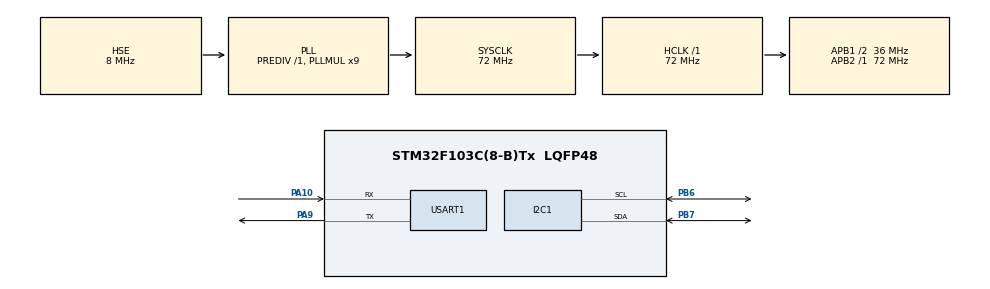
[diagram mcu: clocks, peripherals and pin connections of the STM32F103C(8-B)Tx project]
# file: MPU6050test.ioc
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I2C1.I2C_Mode=I2C_Fast
Mcu.Family=STM32F1
Mcu.Name=STM32F103C(8-B)Tx
Mcu.Package=LQFP48
NVIC.PriorityGroup=NVIC_PRIORITYGROUP_4
PA10.Mode=Asynchronous
PA10.Signal=USART1_RX
PA13.Mode=Serial_Wire
PA13.Signal=SYS_JTMS-SWDIO
PA14.Mode=Serial_Wire
PA14.Signal=SYS_JTCK-SWCLK
PA9.Mode=Asynchronous
PA9.Signal=USART1_TX
PB6.Mode=I2C
PB6.Signal=I2C1_SCL
PB7.Mode=I2C
PB7.Signal=I2C1_SDA
PD0-OSC_IN.Mode=HSE-External-Oscillator
PD0-OSC_IN.Signal=RCC_OSC_IN
PD1-OSC_OUT.Mode=HSE-External-Oscillator
PD1-OSC_OUT.Signal=RCC_OSC_OUT
ProjectManager.HeapSize=0x200
ProjectManager.StackSize=0x400
ProjectManager.TargetToolchain=MDK-ARM V5.32
RCC.AHBFreq_Value=72000000
RCC.APB1CLKDivider=RCC_HCLK_DIV2
RCC.APB1Freq_Value=36000000
RCC.APB1TimFreq_Value=72000000
RCC.APB2Freq_Value=72000000
RCC.APB2TimFreq_Value=72000000
RCC.HCLKFreq_Value=72000000
RCC.PLLMUL=RCC_PLL_MUL9
RCC.PLLSourceVirtual=RCC_PLLSOURCE_HSE
RCC.SYSCLKFreq_VALUE=72000000
RCC.SYSCLKSource=RCC_SYSCLKSOURCE_PLLCLK
RCC.USBFreq_Value=72000000
USART1.VirtualMode=VM_ASYNC
board=custom

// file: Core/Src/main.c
/* USER CODE BEGIN Header */
/**
  ******************************************************************************
  * @file           : main.c
  * @brief          : Main program body
  ******************************************************************************
  * @attention
  *
  * Copyright (c) 2024 STMicroelectronics.
  * All rights reserved.
  *
  * This software is licensed under terms that can be found in the LICENSE file
  * in the root directory of this software component.
  * If no LICENSE file comes with this software, it is provided AS-IS.
  *
  ******************************************************************************
  */
/* USER CODE END Header */
#include "main.h"
#include "i2c.h"
#include "usart.h"
#include "gpio.h"

/* USER CODE BEGIN Includes */
#include <stdio.h>
#include "MPU6050.h"
/* USER CODE END Includes */

/* USER CODE BEGIN PD */
#define BYTE0(dwTemp)       (*(char *)(&dwTemp))	 //取出int型变量的低字节
#define BYTE1(dwTemp)       (*((char *)(&dwTemp) + 1))	 //	取存储在此变量下一内存字节的内容，高字节
#define BYTE2(dwTemp)       (*((char *)(&dwTemp) + 2))
#define BYTE3(dwTemp)       (*((char *)(&dwTemp) + 3))

/* USER CODE END PD */

/* USER CODE BEGIN PV */
uint8_t MPUdata[14];             // 接收mpu6050的数据
float accel_x, accel_y, accel_z; // 加速度计数据（米/秒^2）
float gyro_x, gyro_y, gyro_z;    // 陀螺仪数据（度每秒）
uint8_t uartTxBuffer[17];        // 串口发送数据
/* USER CODE END PV */

void SystemClock_Config(void);
/* USER CODE BEGIN PFP */
int fputc(int ch, FILE *f)
{
  HAL_UART_Transmit(&huart1, (uint8_t *)&ch, 1, 0xffff);
  return ch;
}
int fgetc(FILE *f)
{
  uint8_t ch = 0;
  HAL_UART_Receive(&huart1, &ch, 1, 0xffff);
  return ch;
}

void SendData(float pitch, float roll, float yaw)
{

	uint8_t sumcheck = 0;
	uint8_t addcheck = 0;
  uint16_t u16_pitch = (uint16_t)(pitch * 100);
  uint16_t u16_roll = (uint16_t)(roll * 100);
  uint16_t u16_yaw = (uint16_t)(yaw * 100);

	int _cnt=0;
	uartTxBuffer[_cnt++] = 0xAA;//帧头
	uartTxBuffer[_cnt++] = 0xFF;//目标地址

	uartTxBuffer[_cnt++] = 0X03;//功能码
	uartTxBuffer[_cnt++] = 0x07;//数据长度

	uartTxBuffer[_cnt++] = u16_pitch;//数据内容,小段模式，低位在前
	uartTxBuffer[_cnt++] = u16_pitch >> 8;//需要将字节进行拆分，调用上面的宏定义即可。
	uartTxBuffer[_cnt++] = u16_roll;
	uartTxBuffer[_cnt++] = u16_roll >> 8;
	uartTxBuffer[_cnt++] = u16_yaw;
	uartTxBuffer[_cnt++] = u16_yaw >> 8;

	uartTxBuffer[_cnt++] = 0;

	//SC和AC的校验直接抄最上面上面简介的即可
	for (int i = 0; i < uartTxBuffer[3] + 4; i++)
	{
		sumcheck += uartTxBuffer[i];
    addcheck += sumcheck;

	}
	uartTxBuffer[_cnt++] = sumcheck;
	uartTxBuffer[_cnt++] = addcheck;

  HAL_UART_Transmit(&huart1, uartTxBuffer, _cnt, 0xffff);

}
/* USER CODE END PFP */

int main(void)
{

  /* USER CODE BEGIN 1 */
  int result;
  float pitch = 0, roll = 0, yaw = 0;
  /* USER CODE END 1 */

  /* MCU Configuration--------------------------------------------------------*/

  /* Reset of all peripherals, Initializes the Flash interface and the Systick. */
  HAL_Init();

  /* Configure the system clock */
  SystemClock_Config();

  /* Initialize all configured peripherals */
  MX_GPIO_Init();
  MX_I2C1_Init();
  MX_USART1_UART_Init();
  /* USER CODE BEGIN 2 */
  HAL_Delay(500);
  printf("ready\n");
  result = MPU6050_DMP_Init();
  if (result != 0)
  {
    printf("error1 %d\n", result);

    while (result)
    {
      HAL_Delay(500);
      result = MPU6050_DMP_Init();
      printf("error2 %d\n", result);
    }

  }
  else
  {
    printf("success");
  }
  /* USER CODE END 2 */

  /* Infinite loop */
  /* USER CODE BEGIN WHILE */

  while (1)
  {
    if (MPU6050_DMP_GetData(&pitch, &roll, &yaw) == 0)
    {
      // printf("%f, %f, %f\n", pitch, roll, yaw);
      SendData(pitch, roll, yaw);
    }
    HAL_Delay(10);

    /* USER CODE END WHILE */

    // 读取加速度计数据
    // accel_x = ReadAccel_x(MPUdata);
    // accel_y = ReadAccel_y(MPUdata);
    // accel_z = ReadAccel_z(MPUdata);

    // // 读取陀螺仪数据
    // gyro_x = ReadGyro_x(MPUdata);
    // gyro_y = ReadGyro_y(MPUdata);
    // gyro_z = ReadGyro_z(MPUdata);

    // printf("%f, %f, %f, %f, %f, %f\n", accel_x, accel_y, accel_z, gyro_x, gyro_y, gyro_z);
    // HAL_Delay(10);

  }
}

void SystemClock_Config(void)
{
  RCC_OscInitTypeDef RCC_OscInitStruct = {0};
  RCC_ClkInitTypeDef RCC_ClkInitStruct = {0};

  /** Initializes the RCC Oscillators according to the specified parameters
  * in the RCC_OscInitTypeDef structure.
  */
  RCC_OscInitStruct.OscillatorType = RCC_OSCILLATORTYPE_HSE;
  RCC_OscInitStruct.HSEState = RCC_HSE_ON;
  RCC_OscInitStruct.HSEPredivValue = RCC_HSE_PREDIV_DIV1;
  RCC_OscInitStruct.HSIState = RCC_HSI_ON;
  RCC_OscInitStruct.PLL.PLLState = RCC_PLL_ON;
  RCC_OscInitStruct.PLL.PLLSource = RCC_PLLSOURCE_HSE;
  RCC_OscInitStruct.PLL.PLLMUL = RCC_PLL_MUL9;
  if (HAL_RCC_OscConfig(&RCC_OscInitStruct) != HAL_OK)
  {
    Error_Handler();
  }

  /** Initializes the CPU, AHB and APB buses clocks
  */
  RCC_ClkInitStruct.ClockType = RCC_CLOCKTYPE_HCLK|RCC_CLOCKTYPE_SYSCLK
                              |RCC_CLOCKTYPE_PCLK1|RCC_CLOCKTYPE_PCLK2;
  RCC_ClkInitStruct.SYSCLKSource = RCC_SYSCLKSOURCE_PLLCLK;
  RCC_ClkInitStruct.AHBCLKDivider = RCC_SYSCLK_DIV1;
  RCC_ClkInitStruct.APB1CLKDivider = RCC_HCLK_DIV2;
  RCC_ClkInitStruct.APB2CLKDivider = RCC_HCLK_DIV1;

  if (HAL_RCC_ClockConfig(&RCC_ClkInitStruct, FLASH_LATENCY_2) != HAL_OK)
  {
    Error_Handler();
  }
}

void Error_Handler(void)
{
  __disable_irq();
  while (1)
  {
  }
}
